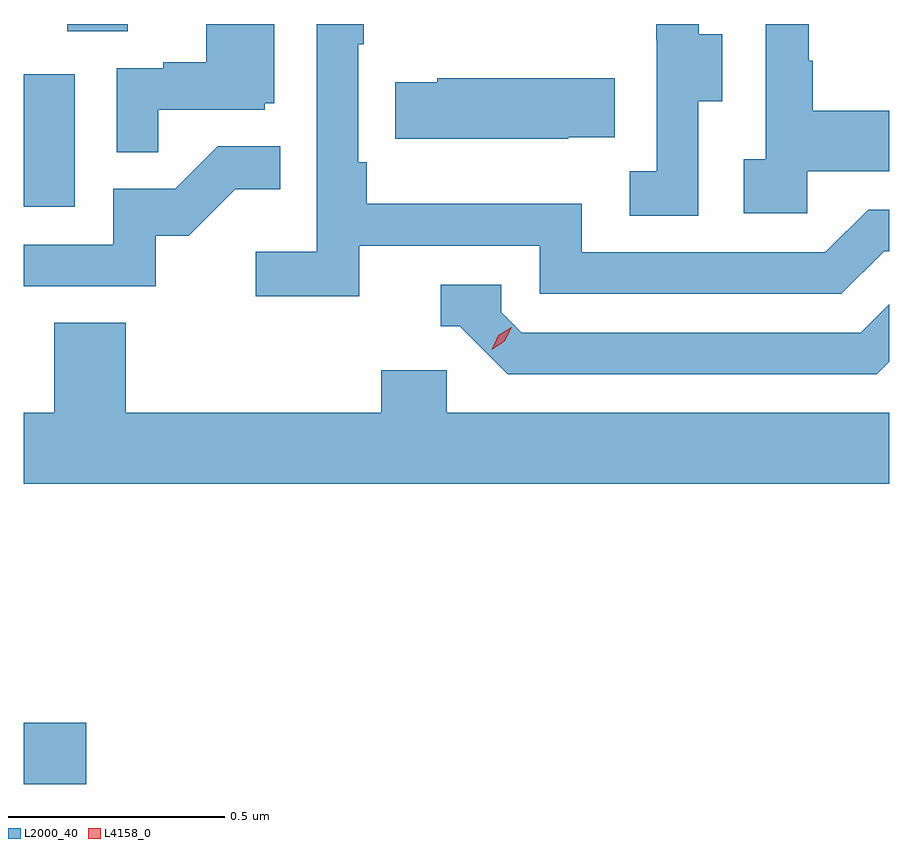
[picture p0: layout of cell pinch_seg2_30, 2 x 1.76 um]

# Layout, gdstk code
import gdstk
lib = gdstk.Library(unit=1e-6, precision=1e-09)
def R(c, l, rs):  # rectangles x0, y0, x1, y1
    for r in rs: c.add(gdstk.rectangle(r[:2], r[2:], *l))
def P(c, l, *ps):  # polygons
    for p in ps: c.add(gdstk.Polygon(p, *l))
L2000_40 = (2000, 40)
L4158_0 = (4158, 0)

pinch_seg2_30 = lib.new_cell('pinch_seg2_30')
R(pinch_seg2_30, L2000_40, [(1101.985,657.598,1102.129,657.74), (1101.985,658.932,1102.102,659.239), (1102.085,659.338,1102.225,659.355)])
P(pinch_seg2_30, L2000_40, [(1103.544,659.176),(1103.599,659.176),(1103.599,659.331),(1103.545,659.331),(1103.545,659.355),(1103.447,659.355),(1103.447,659.319),(1103.448,659.319),(1103.448,659.015),(1103.385,659.015),(1103.385,658.912),(1103.544,658.912)],
  [(1102.76,658.842),(1103.178,658.842),(1103.178,658.731),(1103.875,658.731),(1103.974,658.83),(1103.985,658.83),(1103.985,658.926),(1103.937,658.926),(1103.838,658.827),(1103.274,658.827),(1103.274,658.939),(1102.778,658.939),(1102.778,659.035),(1102.758,659.035),(1102.758,659.308),(1102.771,659.308),(1102.771,659.355),(1102.662,659.355),(1102.662,658.828),(1102.521,658.828),(1102.521,658.726),(1102.76,658.726)],
  [(1102.295,659.157),(1102.542,659.157),(1102.542,659.172),(1102.564,659.172),(1102.564,659.355),(1102.406,659.355),(1102.406,659.266),(1102.307,659.266),(1102.307,659.253),(1102.2,659.253),(1102.2,659.059),(1102.295,659.059)],
  [(1103.796,659.015),(1103.985,659.015),(1103.985,659.155),(1103.809,659.155),(1103.809,659.27),(1103.799,659.27),(1103.799,659.355),(1103.7,659.355),(1103.7,659.042),(1103.649,659.042),(1103.649,658.917),(1103.796,658.917)],
  [(1103.243,659.093),(1103.351,659.093),(1103.351,659.23),(1102.941,659.23),(1102.941,659.22),(1102.843,659.22),(1102.843,659.09),(1103.243,659.09)],
  [(1102.29,658.866),(1102.366,658.866),(1102.473,658.973),(1102.577,658.973),(1102.577,659.072),(1102.433,659.072),(1102.335,658.974),(1102.191,658.974),(1102.191,658.845),(1101.985,658.845),(1101.985,658.749),(1102.29,658.749)],
  [(1103.985,658.574),(1103.985,658.707),(1103.919,658.641),(1103.136,658.641),(1103.088,658.689),(1103.088,658.752),(1102.949,658.752),(1102.949,658.656),(1102.992,658.656),(1103.103,658.545),(1103.956,658.545)],
  [(1103.985,658.456),(1102.962,658.456),(1102.962,658.554),(1102.811,658.554),(1102.811,658.456),(1102.22,658.456),(1102.22,658.664),(1102.055,658.664),(1102.055,658.456),(1101.985,658.456),(1101.985,658.292),(1103.985,658.292)])
P(pinch_seg2_30, L4158_0, [(1103.066,658.602),(1103.066,658.602),(1103.082,658.635),(1103.112,658.654),(1103.113,658.654),(1103.113,658.654),(1103.097,658.622),(1103.066,658.602)])

lib.write_gds('pinch_seg2_30.gds')
